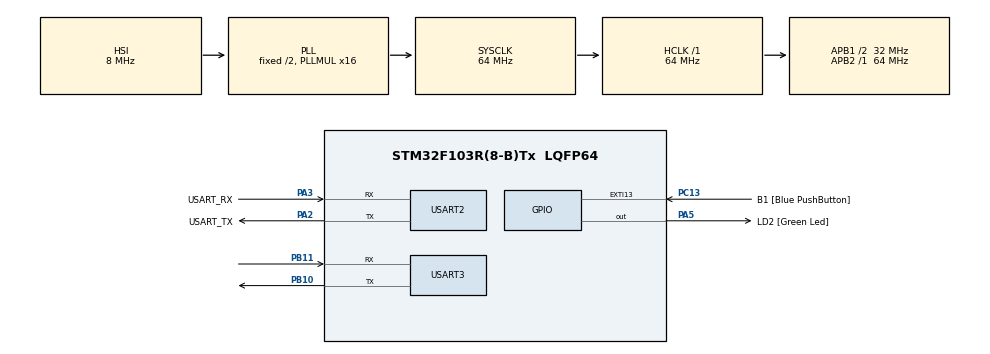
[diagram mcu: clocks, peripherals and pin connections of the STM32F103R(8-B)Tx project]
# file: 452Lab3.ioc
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Mcu.Family=STM32F1
Mcu.Name=STM32F103R(8-B)Tx
Mcu.Package=LQFP64
NVIC.EXTI15_10_IRQn=true\:0\:0\:false\:false\:true\:true\:true\:true
NVIC.PriorityGroup=NVIC_PRIORITYGROUP_4
NVIC.USART3_IRQn=true\:0\:0\:false\:false\:true\:true\:true\:true
PA13.GPIO_Label=TMS
PA13.Mode=Serial_Wire
PA13.Signal=SYS_JTMS-SWDIO
PA14.GPIO_Label=TCK
PA14.Mode=Serial_Wire
PA14.Signal=SYS_JTCK-SWCLK
PA2.GPIO_Label=USART_TX
PA2.GPIO_Mode=GPIO_MODE_AF_PP
PA2.GPIO_PuPd=GPIO_NOPULL
PA2.GPIO_Speed=GPIO_SPEED_FREQ_LOW
PA2.Mode=Asynchronous
PA2.Signal=USART2_TX
PA3.GPIO_Label=USART_RX
PA3.GPIO_Mode=GPIO_MODE_AF_PP
PA3.GPIO_PuPd=GPIO_NOPULL
PA3.GPIO_Speed=GPIO_SPEED_FREQ_LOW
PA3.Mode=Asynchronous
PA3.Signal=USART2_RX
PA5.GPIO_Label=LD2 [Green Led]
PA5.GPIO_ModeDefaultOutputPP=GPIO_MODE_OUTPUT_PP
PA5.GPIO_PuPd=GPIO_NOPULL
PA5.GPIO_Speed=GPIO_SPEED_FREQ_LOW
PA5.Signal=GPIO_Output
PB10.Mode=Asynchronous
PB10.Signal=USART3_TX
PB11.Mode=Asynchronous
PB11.Signal=USART3_RX
PB3.GPIO_Label=SWO
PB3.Signal=SYS_JTDO-TRACESWO
PC13-TAMPER-RTC.GPIO_Label=B1 [Blue PushButton]
PC13-TAMPER-RTC.GPIO_PuPd=GPIO_NOPULL
PC13-TAMPER-RTC.Signal=GPXTI13
PC14-OSC32_IN.Mode=LSE-External-Oscillator
PC14-OSC32_IN.Signal=RCC_OSC32_IN
PC15-OSC32_OUT.Mode=LSE-External-Oscillator
PC15-OSC32_OUT.Signal=RCC_OSC32_OUT
PD0-OSC_IN.Mode=HSE-External-Clock-Source
PD0-OSC_IN.Signal=RCC_OSC_IN
PD1-OSC_OUT.Mode=HSE-External-Clock-Source
PD1-OSC_OUT.Signal=RCC_OSC_OUT
ProjectManager.HeapSize=0x200
ProjectManager.StackSize=0x400
ProjectManager.TargetToolchain=STM32CubeIDE
RCC.AHBFreq_Value=64000000
RCC.APB1CLKDivider=RCC_HCLK_DIV2
RCC.APB1Freq_Value=32000000
RCC.APB1TimFreq_Value=64000000
RCC.APB2Freq_Value=64000000
RCC.APB2TimFreq_Value=64000000
RCC.HCLKFreq_Value=64000000
RCC.PLLMUL=RCC_PLL_MUL16
RCC.RTCClockSelection=RCC_RTCCLKSOURCE_LSE
RCC.SYSCLKFreq_VALUE=64000000
RCC.SYSCLKSource=RCC_SYSCLKSOURCE_PLLCLK
RCC.USBFreq_Value=64000000
USART2.VirtualMode=VM_ASYNC
USART3.VirtualMode=VM_ASYNC
board=NUCLEO-F103RB

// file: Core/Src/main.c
/* USER CODE BEGIN Header */
/**
  ******************************************************************************
  * @file           : main.c
  * @brief          : Main program body
  ******************************************************************************
  * @attention
  *
  * Copyright (c) 2022 STMicroelectronics.
  * All rights reserved.
  *
  * This software is licensed under terms that can be found in the LICENSE file
  * in the root directory of this software component.
  * If no LICENSE file comes with this software, it is provided AS-IS.
  *
  ******************************************************************************
  */
/* USER CODE END Header */
#include "main.h"

/* USER CODE BEGIN PM */
uint8_t cliBufferTX[50];
uint8_t cliBufferRX[10];
uint8_t input[20];
int x;
/* USER CODE END PM */

 UART_HandleTypeDef huart2;
UART_HandleTypeDef huart3;

/* USER CODE BEGIN PV */
const char *CLEAR_SCREEN = "\x1b[2J";
const char *SCROLL_WINDOW = "\x1b[10;r";
const char *GO_TO_SCROLL = "\x1b[10;0H";
const char *GO_TO_TOP = "\x1b[0;0H";
const char *HIDE_CURS = "\x1b[?25l";
const char *SHOW_CURS = "\x1b[?25h";
const char *SAVE_CURS = "\x1b[s";
const char *RETURN_CURS = "\x1b[u";
/* USER CODE END PV */

void SystemClock_Config(void);
static void MX_GPIO_Init(void);
static void MX_USART2_UART_Init(void);
static void MX_USART3_UART_Init(void);

int main(void)
{

  /* MCU Configuration--------------------------------------------------------*/

  /* Reset of all peripherals, Initializes the Flash interface and the Systick. */
  HAL_Init();

  /* Configure the system clock */
  SystemClock_Config();

  /* Initialize all configured peripherals */
  MX_GPIO_Init();
  MX_USART2_UART_Init();
  MX_USART3_UART_Init();
  /* USER CODE BEGIN 2 */
  printString(CLEAR_SCREEN);
  printString(GO_TO_TOP);
  printString("Welcome to the CLI!\r\n");

  printString(CLEAR_SCREEN);
  printString(GO_TO_TOP);
  printString(SCROLL_WINDOW);
  printString(GO_TO_SCROLL);

  HAL_UART_Receive_IT(&huart3, cliBufferRX, 1);
  printString("\nEnter a command for the LED:\r\n");
  printString(SAVE_CURS);
  /* USER CODE END 2 */

  /* Infinite loop */
  while (1)
  {
	  HAL_UART_Transmit(&huart2, cliBufferTX, strlen((char *)cliBufferTX), 1000);
	  while(cliBufferTX[0] != '\r'){
		  HAL_UART_RxCpltCallback(&huart3);
	  }
  }
}

void SystemClock_Config(void)
{
  RCC_OscInitTypeDef RCC_OscInitStruct = {0};
  RCC_ClkInitTypeDef RCC_ClkInitStruct = {0};

  /** Initializes the RCC Oscillators according to the specified parameters
  * in the RCC_OscInitTypeDef structure.
  */
  RCC_OscInitStruct.OscillatorType = RCC_OSCILLATORTYPE_HSI;
  RCC_OscInitStruct.HSIState = RCC_HSI_ON;
  RCC_OscInitStruct.HSICalibrationValue = RCC_HSICALIBRATION_DEFAULT;
  RCC_OscInitStruct.PLL.PLLState = RCC_PLL_ON;
  RCC_OscInitStruct.PLL.PLLSource = RCC_PLLSOURCE_HSI_DIV2;
  RCC_OscInitStruct.PLL.PLLMUL = RCC_PLL_MUL16;
  if (HAL_RCC_OscConfig(&RCC_OscInitStruct) != HAL_OK)
  {
    Error_Handler();
  }

  /** Initializes the CPU, AHB and APB buses clocks
  */
  RCC_ClkInitStruct.ClockType = RCC_CLOCKTYPE_HCLK|RCC_CLOCKTYPE_SYSCLK
                              |RCC_CLOCKTYPE_PCLK1|RCC_CLOCKTYPE_PCLK2;
  RCC_ClkInitStruct.SYSCLKSource = RCC_SYSCLKSOURCE_PLLCLK;
  RCC_ClkInitStruct.AHBCLKDivider = RCC_SYSCLK_DIV1;
  RCC_ClkInitStruct.APB1CLKDivider = RCC_HCLK_DIV2;
  RCC_ClkInitStruct.APB2CLKDivider = RCC_HCLK_DIV1;

  if (HAL_RCC_ClockConfig(&RCC_ClkInitStruct, FLASH_LATENCY_2) != HAL_OK)
  {
    Error_Handler();
  }
}

static void MX_USART2_UART_Init(void)
{

  huart2.Instance = USART2;
  huart2.Init.BaudRate = 115200;
  huart2.Init.WordLength = UART_WORDLENGTH_8B;
  huart2.Init.StopBits = UART_STOPBITS_1;
  huart2.Init.Parity = UART_PARITY_NONE;
  huart2.Init.Mode = UART_MODE_TX_RX;
  huart2.Init.HwFlowCtl = UART_HWCONTROL_NONE;
  huart2.Init.OverSampling = UART_OVERSAMPLING_16;
  if (HAL_UART_Init(&huart2) != HAL_OK)
  {
    Error_Handler();
  }

}

static void MX_USART3_UART_Init(void)
{

  huart3.Instance = USART3;
  huart3.Init.BaudRate = 115200;
  huart3.Init.WordLength = UART_WORDLENGTH_8B;
  huart3.Init.StopBits = UART_STOPBITS_1;
  huart3.Init.Parity = UART_PARITY_NONE;
  huart3.Init.Mode = UART_MODE_TX_RX;
  huart3.Init.HwFlowCtl = UART_HWCONTROL_NONE;
  huart3.Init.OverSampling = UART_OVERSAMPLING_16;
  if (HAL_UART_Init(&huart3) != HAL_OK)
  {
    Error_Handler();
  }

}

static void MX_GPIO_Init(void)
{
  GPIO_InitTypeDef GPIO_InitStruct = {0};

  /* GPIO Ports Clock Enable */
  __HAL_RCC_GPIOC_CLK_ENABLE();
  __HAL_RCC_GPIOD_CLK_ENABLE();
  __HAL_RCC_GPIOA_CLK_ENABLE();
  __HAL_RCC_GPIOB_CLK_ENABLE();

  /*Configure GPIO pin Output Level */
  HAL_GPIO_WritePin(LD2_GPIO_Port, LD2_Pin, GPIO_PIN_RESET);

  /*Configure GPIO pin : B1_Pin */
  GPIO_InitStruct.Pin = B1_Pin;
  GPIO_InitStruct.Mode = GPIO_MODE_IT_RISING;
  GPIO_InitStruct.Pull = GPIO_NOPULL;
  HAL_GPIO_Init(B1_GPIO_Port, &GPIO_InitStruct);

  /*Configure GPIO pin : LD2_Pin */
  GPIO_InitStruct.Pin = LD2_Pin;
  GPIO_InitStruct.Mode = GPIO_MODE_OUTPUT_PP;
  GPIO_InitStruct.Pull = GPIO_NOPULL;
  GPIO_InitStruct.Speed = GPIO_SPEED_FREQ_LOW;
  HAL_GPIO_Init(LD2_GPIO_Port, &GPIO_InitStruct);

  /* EXTI interrupt init*/
  HAL_NVIC_SetPriority(EXTI15_10_IRQn, 0, 0);
  HAL_NVIC_EnableIRQ(EXTI15_10_IRQn);

}

/* USER CODE BEGIN 4 */
void HAL_UART_RxCpltCallback(UART_HandleTypeDef *husart)
{

	printString(RETURN_CURS);
	printString(SHOW_CURS);

	copyCharTo(cliBufferRX, input, x);

	//backspace incidence
	if(cliBufferRX[0] == '\b')
	{
		x--;
	}
	else
	{
		x++;
	}

	//when enter is hit execute the command
	if(isCompleteLine(cliBufferRX))
	{
		HAL_UART_Transmit(&huart3, "\r\n", 2, 1000);
		strcpy((char *)cliBufferTX, input);

		executeCommand(input);
		HAL_UART_Transmit(&huart3, "\r\n", 2, 1000);
		x = 0;
		for(int i = 0; i < 20; i++)
		{
			input[x] = NULL;
		}
		printString("\nEnter a command for the LED:\r\n");
	}

	printString(SAVE_CURS);

	while(huart3.gState == HAL_UART_STATE_BUSY_RX){}

	HAL_UART_Receive_IT(&huart3, cliBufferRX, 1);

}
/* USER CODE END 4 */

void Error_Handler(void)
{
  __disable_irq();
  while (1)
  {
  }
}
